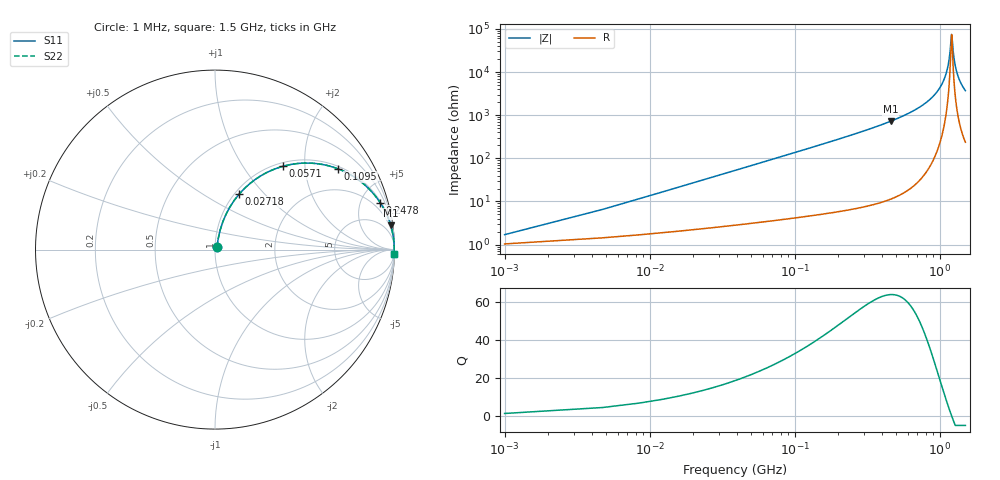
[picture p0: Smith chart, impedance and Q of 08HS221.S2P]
! Coilcraft 0805HS-221 Chip Inductor
! 13 June 2002
# MHZ S MA R 50
!Freq  MagS11  AngS11  MagS21  AngS21  MagS12  AngS12  MagS22  AngS22
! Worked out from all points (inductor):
!   402 points, 1 MHz to 1.5 GHz, reference 50 ohm
!   read as one part in series: L = 215 nH near 8.48 MHz
!   highest Q = 63.9 at 457.3 MHz (marker M1), where L = 251 nH
!   self-resonance near 1.205 GHz
!   S11 on the Smith chart (normalised r, x): 1 MHz: 1.02, +0.03; 27.18 MHz: 1.05, +0.73; 57.1 MHz: 1.07, +1.55; 109.5 MHz: 1.09, +2.98; 247.8 MHz: 1.13, +6.99; 1.5 GHz: 6, -74
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1  0.01687 51.6  0.9896 -0.8  0.9896 -0.8  0.01687 51.6
12.22  0.161 74.3  0.9688 -9.2  0.9688 -9.2  0.161 74.3
19.7  0.2529 70.7  0.9468 -14.6  0.9468 -14.6  0.2529 70.7
27.18  0.3382 66.4  0.9186 -19.7  0.9186 -19.7  0.3382 66.4
57.1  0.5998 50.8  0.7751 -36.8  0.7751 -36.8  0.5998 50.8
109.46  0.8197 33.3  0.5496 -55.0  0.5496 -55.0  0.8197 33.3
165.56  0.9081 23.5  0.3983 -65.2  0.3983 -65.2  0.9081 23.5
247.84  0.9567 15.9  0.2736 -73.0  0.2736 -73.0  0.9567 15.9
251.58  0.958 15.6  0.2696 -73.3  0.2696 -73.3  0.958 15.6
457.28  0.9884 7.9  0.137 -81.2  0.137 -81.2  0.9884 7.9
502.16  0.9908 6.9  0.1207 -82.2  0.1207 -82.2  0.9908 6.9
752.74  0.9969 3.4  0.05986 -85.3  0.05986 -85.3  0.9969 3.4
1003.32  0.9985 1.3  0.02272 -85.6  0.02272 -85.6  0.9985 1.3
1078.12  0.9987 0.8  0.01384 -84.0  0.01384 -84.0  0.9987 0.8
1130.48  0.9987 0.5  0.008047 -80.4  0.008047 -80.4  0.9987 0.5
1164.14  0.9987 0.2  0.004537 -73.0  0.004537 -73.0  0.9987 0.2
1205.28  0.9987 0.0  0.001349 -3.7  0.001349 -3.7  0.9987 0.0
1212.76  0.9986 -0.0  0.001511 26.4  0.001511 26.4  0.9986 -0.0
1253.9  0.9986 -0.3  0.004961 73.4  0.004961 73.4  0.9986 -0.3
1291.3  0.9985 -0.5  0.008489 79.8  0.008489 79.8  0.9985 -0.5
1343.66  0.9984 -0.8  0.01334 82.8  0.01334 82.8  0.9984 -0.8
1500  0.9979 -1.5  0.02696 84.8  0.02696 84.8  0.9979 -1.5
